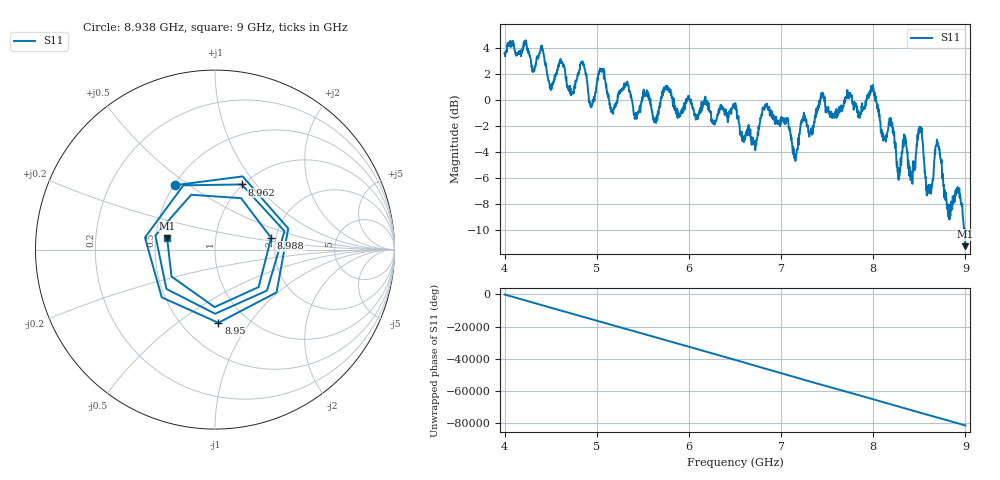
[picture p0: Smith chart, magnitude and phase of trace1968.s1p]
! Created with skrf 1.8.0 (http://scikit-rf.org).
# Hz S RI R 50.0
!freq ReS11 ImS11
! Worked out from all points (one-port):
!   1601 points, 4 GHz to 9 GHz, reference 50 ohm
!   lowest |S11| = -11.2 dB at 9 GHz (marker M1), VSWR 1.76, Z = 28.7 + j4.05 ohm
!   |S11| at or under -10 dB: 8.994336 GHz to end of sweep
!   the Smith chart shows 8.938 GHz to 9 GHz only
!   S11 on the Smith chart (normalised r, x): 8.938 GHz: 0.51, +0.44; 8.95 GHz: 0.74, -0.72; 8.962 GHz: 0.99, +0.85; 8.988 GHz: 1.88, +0.28; 9 GHz: 0.57, +0.08
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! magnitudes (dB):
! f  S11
! 4 GHz  3.6
! 4.625 GHz  2.9
! 4.725 GHz  0.5
! 4.85 GHz  2.8
! 4.941 GHz  -0.6
! 5.05 GHz  2.4
! 5.162 GHz  -0.8
! 5.25 GHz  0.5
! 5.875 GHz  -0.8
! 6.5 GHz  -0.7
! 6.588 GHz  -3.2
! 6.847 GHz  -0.3
! 7.125 GHz  -3.8
! 7.444 GHz  0.5
! 7.75 GHz  0.5
! 7.994 GHz  1.1
! 8.275 GHz  -6.1
! 8.375 GHz  -5.0
! 8.431 GHz  -5.6
! 8.506 GHz  -2.0
! 8.6 GHz  -6.8
! 8.694 GHz  -3.2
! 8.816 GHz  -8.5
! 8.938 GHz  -7.5
! 8.95 GHz  -7.8
! 8.962 GHz  -8.1
! 8.988 GHz  -9.9
! 9 GHz  -11.2
